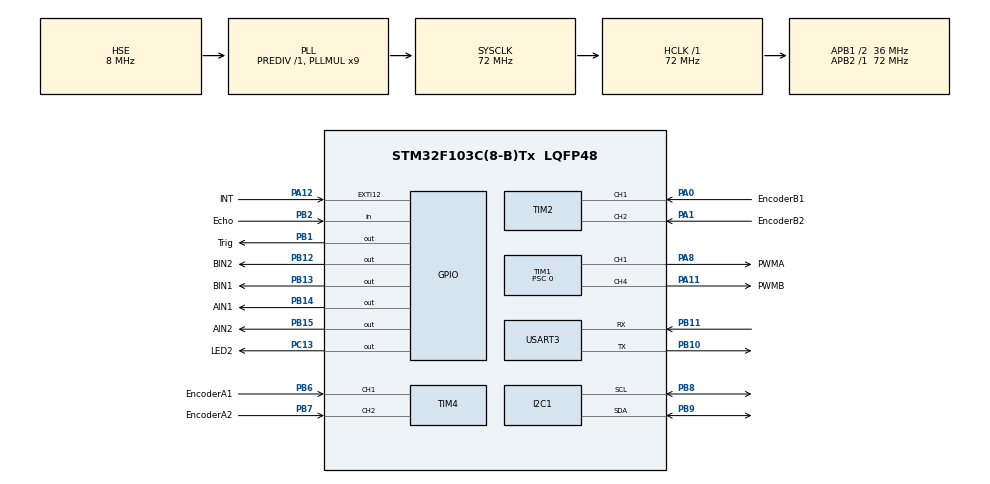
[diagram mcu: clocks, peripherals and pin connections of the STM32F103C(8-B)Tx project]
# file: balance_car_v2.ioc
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I2C1.I2C_Mode=I2C_Fast
Mcu.Family=STM32F1
Mcu.Name=STM32F103C(8-B)Tx
Mcu.Package=LQFP48
NVIC.EXTI15_10_IRQn=true\:0\:0\:false\:false\:true\:true\:true
NVIC.PriorityGroup=NVIC_PRIORITYGROUP_4
NVIC.TIM2_IRQn=true\:0\:0\:false\:false\:true\:true\:true
NVIC.TIM3_IRQn=true\:1\:0\:true\:false\:true\:true\:true
NVIC.TIM4_IRQn=true\:0\:0\:false\:false\:true\:true\:true
NVIC.USART3_IRQn=true\:0\:0\:false\:false\:true\:true\:true
PA0-WKUP.GPIO_Label=EncoderB1
PA0-WKUP.Signal=S_TIM2_CH1_ETR
PA1.GPIO_Label=EncoderB2
PA1.Signal=S_TIM2_CH2
PA11.GPIO_Label=PWMB
PA11.Signal=S_TIM1_CH4
PA12.GPIO_Label=INT
PA12.Signal=GPXTI12
PA13.Mode=Serial_Wire
PA13.Signal=SYS_JTMS-SWDIO
PA14.Mode=Serial_Wire
PA14.Signal=SYS_JTCK-SWCLK
PA8.GPIO_Label=PWMA
PA8.Signal=S_TIM1_CH1
PB1.GPIO_Label=Trig
PB1.Signal=GPIO_Output
PB10.Mode=Asynchronous
PB10.Signal=USART3_TX
PB11.Mode=Asynchronous
PB11.Signal=USART3_RX
PB12.GPIO_Label=BIN2
PB12.Signal=GPIO_Output
PB13.GPIO_Label=BIN1
PB13.Signal=GPIO_Output
PB14.GPIO_Label=AIN1
PB14.Signal=GPIO_Output
PB15.GPIO_Label=AIN2
PB15.Signal=GPIO_Output
PB2.GPIO_Label=Echo
PB2.Signal=GPIO_Input
PB6.GPIO_Label=EncoderA1
PB6.Signal=S_TIM4_CH1
PB7.GPIO_Label=EncoderA2
PB7.Signal=S_TIM4_CH2
PB8.Mode=I2C
PB8.Signal=I2C1_SCL
PB9.Mode=I2C
PB9.Signal=I2C1_SDA
PC13-TAMPER-RTC.GPIO_Label=LED2
PC13-TAMPER-RTC.Signal=GPIO_Output
PD0-OSC_IN.Mode=HSE-External-Oscillator
PD0-OSC_IN.Signal=RCC_OSC_IN
PD1-OSC_OUT.Mode=HSE-External-Oscillator
PD1-OSC_OUT.Signal=RCC_OSC_OUT
ProjectManager.HeapSize=0x200
ProjectManager.StackSize=0x400
ProjectManager.TargetToolchain=SW4STM32
RCC.AHBFreq_Value=72000000
RCC.APB1CLKDivider=RCC_HCLK_DIV2
RCC.APB1Freq_Value=36000000
RCC.APB1TimFreq_Value=72000000
RCC.APB2Freq_Value=72000000
RCC.APB2TimFreq_Value=72000000
RCC.HCLKFreq_Value=72000000
RCC.PLLMUL=RCC_PLL_MUL9
RCC.PLLSourceVirtual=RCC_PLLSOURCE_HSE
RCC.SYSCLKFreq_VALUE=72000000
RCC.SYSCLKSource=RCC_SYSCLKSOURCE_PLLCLK
RCC.USBFreq_Value=72000000
SH.S_TIM1_CH1.0=TIM1_CH1,PWM Generation1 CH1
SH.S_TIM1_CH4.0=TIM1_CH4,PWM Generation4 CH4
SH.S_TIM2_CH1_ETR.0=TIM2_CH1,Encoder_Interface
SH.S_TIM2_CH2.0=TIM2_CH2,Encoder_Interface
SH.S_TIM4_CH1.0=TIM4_CH1,Encoder_Interface
SH.S_TIM4_CH2.0=TIM4_CH2,Encoder_Interface
TIM1.AutoReloadPreload=TIM_AUTORELOAD_PRELOAD_ENABLE
TIM1.Channel-PWM\ Generation1\ CH1=TIM_CHANNEL_1
TIM1.Channel-PWM\ Generation4\ CH4=TIM_CHANNEL_4
TIM1.Period=7200-1
TIM1.Prescaler=0
TIM3.AutoReloadPreload=TIM_AUTORELOAD_PRELOAD_ENABLE
TIM3.Period=50-1
TIM3.Prescaler=7200-1
USART3.VirtualMode=VM_ASYNC
VP_TIM1_VS_ClockSourceINT.Mode=Internal
VP_TIM3_VS_ClockSourceINT.Mode=Internal
board=custom

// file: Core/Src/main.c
/* USER CODE BEGIN Header */
/**
  ******************************************************************************
  * @file           : main.c
  * @brief          : Main program body
  ******************************************************************************
  * @attention
  *
  * <h2><center>&copy; Copyright (c) 2022 STMicroelectronics.
  * All rights reserved.</center></h2>
  *
  * This software component is licensed by ST under BSD 3-Clause license,
  * the "License"; You may not use this file except in compliance with the
  * License. You may obtain a copy of the License at:
  *                        opensource.org/licenses/BSD-3-Clause
  *
  ******************************************************************************
  */
/* USER CODE END Header */
#include "main.h"
#include "i2c.h"
#include "tim.h"
#include "usart.h"
#include "gpio.h"

/* USER CODE BEGIN Includes */
#include "mpu6050.h"
#include "retarget.h"
#include "test_freq.h"
#include "tb6612.h"
#include "pid.h"
#include "encoder.h"
#include "uart_parser.h"
/* USER CODE END Includes */

/* USER CODE BEGIN PV */
MPU6050_t mpu6050;
TB6612_Datatype tb6612;
PID_Datatype balance;
float target_degree = 0;
PID_Datatype speed;
float target_speed = 0;
float target_rotate = 0;
/* USER CODE END PV */

void SystemClock_Config(void);

/* USER CODE BEGIN PFP */
void set_tb6612();
void set_pid();
void set_speed(char *cmd);
void set_rotate(char *cmd);
/* USER CODE END PFP */

int main(void) {

    /* MCU Configuration--------------------------------------------------------*/

    /* Reset of all peripherals, Initializes the Flash interface and the Systick. */
    HAL_Init();

    /* Configure the system clock */
    SystemClock_Config();

    /* Initialize all configured peripherals */
    MX_GPIO_Init();
    MX_TIM1_Init();
    MX_TIM2_Init();
    MX_TIM4_Init();
    MX_USART3_UART_Init();
    MX_I2C1_Init();
    MX_TIM3_Init();
    /* USER CODE BEGIN 2 */
    while (MPU6050_Init(&hi2c1) == 1); // 初始化MPU6050
    RetargetInit(&huart3); // 初始化printf重载

    set_tb6612(); // 配置tb6612初始化结构体
    tb6612_init(&tb6612); // 初始化tb6612

    set_pid(); // 配置pid结构体

    encoder_init(); // 初始化编码器

    uart_parser_init(&huart3);
    uart_parser_add_command('S', set_speed, "set speed");
    uart_parser_add_command('R', set_rotate, "set rotate");
    /* USER CODE END 2 */

    /* Infinite loop */
    /* USER CODE BEGIN WHILE */
    while (1) {
        test_freq_begin();

        static int u1 = 0;
        MPU6050_Read_All(&hi2c1, &mpu6050);
        u1 = (int) pid_get_u(&balance, target_degree, mpu6050.KalmanAngleX);

        static int u2 = 0;
        static float motorA, motorB, avg;
        encoder_get_speed(&motorA, &motorB);
        avg = (motorA + motorB) / 2;
        u2 = (int) pid_get_u(&speed, target_speed, avg);

        tb6612_set_value(&tb6612, MOTOR_A, u1 + u2 + target_rotate);
        tb6612_set_value(&tb6612, MOTOR_B, u1 + u2 - target_rotate);

        HAL_Delay(5);
        uint32_t freq = test_freq_end();

//        printf("motorA:%.1f\tmotorB:%.2f\tdegree:%.1f\tfreq:%lu\n", motorA, motorB, mpu6050.KalmanAngleX, freq);

        /* USER CODE END WHILE */

    }
}

void SystemClock_Config(void) {
    RCC_OscInitTypeDef RCC_OscInitStruct = {0};
    RCC_ClkInitTypeDef RCC_ClkInitStruct = {0};

    /** Initializes the RCC Oscillators according to the specified parameters
    * in the RCC_OscInitTypeDef structure.
    */
    RCC_OscInitStruct.OscillatorType = RCC_OSCILLATORTYPE_HSE;
    RCC_OscInitStruct.HSEState = RCC_HSE_ON;
    RCC_OscInitStruct.HSEPredivValue = RCC_HSE_PREDIV_DIV1;
    RCC_OscInitStruct.HSIState = RCC_HSI_ON;
    RCC_OscInitStruct.PLL.PLLState = RCC_PLL_ON;
    RCC_OscInitStruct.PLL.PLLSource = RCC_PLLSOURCE_HSE;
    RCC_OscInitStruct.PLL.PLLMUL = RCC_PLL_MUL9;
    if (HAL_RCC_OscConfig(&RCC_OscInitStruct) != HAL_OK) {
        Error_Handler();
    }
    /** Initializes the CPU, AHB and APB buses clocks
    */
    RCC_ClkInitStruct.ClockType = RCC_CLOCKTYPE_HCLK | RCC_CLOCKTYPE_SYSCLK
                                  | RCC_CLOCKTYPE_PCLK1 | RCC_CLOCKTYPE_PCLK2;
    RCC_ClkInitStruct.SYSCLKSource = RCC_SYSCLKSOURCE_PLLCLK;
    RCC_ClkInitStruct.AHBCLKDivider = RCC_SYSCLK_DIV1;
    RCC_ClkInitStruct.APB1CLKDivider = RCC_HCLK_DIV2;
    RCC_ClkInitStruct.APB2CLKDivider = RCC_HCLK_DIV1;

    if (HAL_RCC_ClockConfig(&RCC_ClkInitStruct, FLASH_LATENCY_2) != HAL_OK) {
        Error_Handler();
    }
}

/* USER CODE BEGIN 4 */
void set_tb6612() {
    tb6612.AIN1_port = AIN1_GPIO_Port;
    tb6612.AIN1_pin = AIN1_Pin;
    tb6612.AIN2_port = AIN2_GPIO_Port;
    tb6612.AIN2_pin = AIN2_Pin;
    tb6612.BIN1_port = BIN2_GPIO_Port;
    tb6612.BIN1_pin = BIN2_Pin;
    tb6612.BIN2_port = BIN1_GPIO_Port;
    tb6612.BIN2_pin = BIN1_Pin;

    tb6612.PWM_A = &htim1;
    tb6612.PWM_A_Channel = TIM_CHANNEL_1;
    tb6612.PWM_B = &htim1;
    tb6612.PWM_B_Channel = TIM_CHANNEL_4;
};

void set_pid() {
    balance.Kp = 400; //400  回复力
    balance.Ki = 0;
    balance.Kd = 2800; //2800  阻尼力
    balance.max_integral = 720;
    balance.min_integral = -720;
    balance.max_u = 7200;
    balance.min_u = -7200;
    balance.integral = 0;
    balance.last_error = 0;

    speed.Kp = -800; // -800
    speed.Ki = -0; //-3.5 速度的积分就是距离，故速度积分误差可以让小车回到原位
    speed.Kd = 0; //
    speed.max_integral = 2000;
    speed.min_integral = -2000;
    speed.max_u = 7200;
    speed.min_u = -7200;
    speed.integral = 0;
    speed.last_error = 0;
}

void set_speed(char *cmd) {
    uart_parser_scalar(&target_speed, cmd);
    printf("Speed:%s\n", cmd);
}

void set_rotate(char *cmd){
    uart_parser_scalar(&target_rotate, cmd);
    printf("Rotate:%s\n", cmd);
}
/* USER CODE END 4 */

void Error_Handler(void) {
    __disable_irq();
    while (1) {
    }
}

/************************ (C) COPYRIGHT STMicroelectronics *****END OF FILE****/
